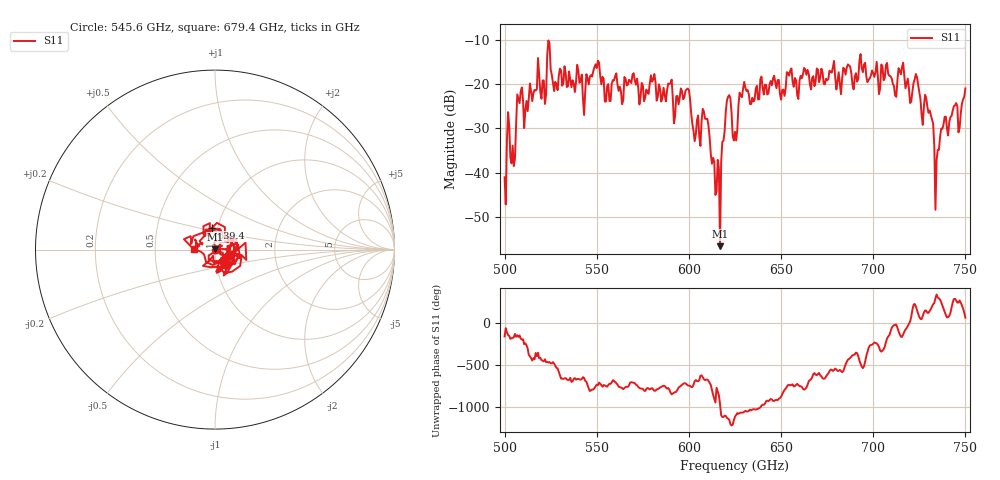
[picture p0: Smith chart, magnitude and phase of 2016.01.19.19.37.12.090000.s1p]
!Created with skrf (http://scikit-rf.org).
# GHz S RI R 50.0
!freq ReS11 ImS11
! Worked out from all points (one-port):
!   401 points, 500 GHz to 750 GHz, reference 50 ohm
!   lowest |S11| = -56.6 dB at 616.9 GHz (marker M1), VSWR 1.00, Z = 49.9 + j0.129 ohm
!   |S11| at or under -10 dB: start of sweep to end of sweep
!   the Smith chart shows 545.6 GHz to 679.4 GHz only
!   S11 on the Smith chart (normalised r, x): 545.6 GHz: 1.10, -0.18; 639.4 GHz: 0.94, +0.23; 679.4 GHz: 0.79, +0.00
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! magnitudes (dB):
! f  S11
! 500 GHz  -41.0
! 502.5 GHz  -29.3
! 504.4 GHz  -33.9
! 508.1 GHz  -24.3
! 521.2 GHz  -19.2
! 524.4 GHz  -10.9
! 527.5 GHz  -19.5
! 531.2 GHz  -20.4
! 545.6 GHz  -20.1
! 562.5 GHz  -20.6
! 593.8 GHz  -22.7
! 599.4 GHz  -21.0
! 603.1 GHz  -32.9
! 608.8 GHz  -27.8
! 615.6 GHz  -37.1
! 616.9 GHz  -56.6
! 621.2 GHz  -22.8
! 625 GHz  -30.8
! 628.8 GHz  -23.0
! 639.4 GHz  -18.3
! 656.2 GHz  -19.4
! 679.4 GHz  -18.5
! 687.5 GHz  -16.0
! 718.8 GHz  -18.8
! 729.4 GHz  -25.1
! 734.4 GHz  -37.2
! 738.1 GHz  -29.1
! 750 GHz  -21.0
